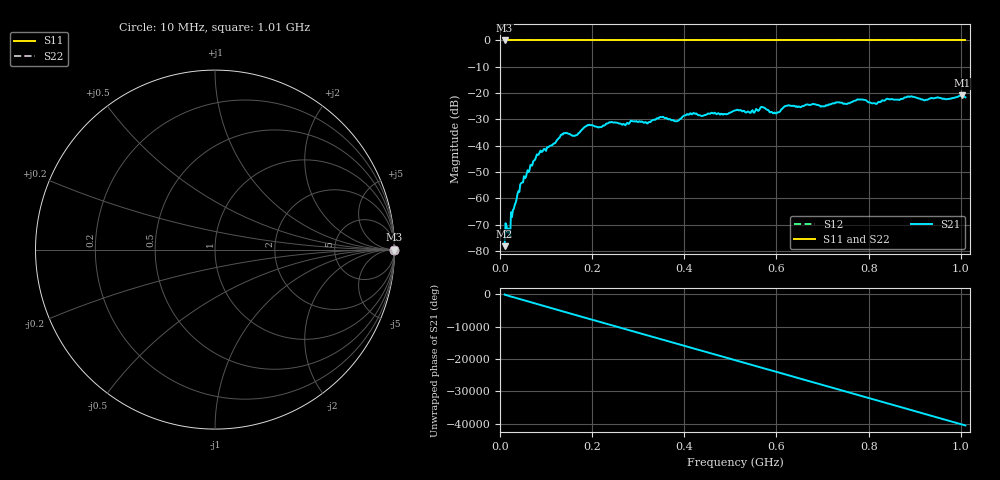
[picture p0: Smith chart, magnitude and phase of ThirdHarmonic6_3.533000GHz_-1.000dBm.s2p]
! 8/17/2025 11:37:08 AM
! C:\ANRITSUVNA\TEMP\TEMP.S2P
! CHANNEL.1
! TR.MEASUREMENT
! RAW.DATA
! RF.CORRECTION.OFF
! AVERAGING.OFF
! IF.BANDWIDTH: 5KHZ
! SWEEPTYPE:  FREQ.SWEEP(Linear)
! Reference Plane Port Info
! PORT:  PORT1  PORT2
! DISTANCE:  0  m  0  m
! TIME:  0  s  0  s
! PHASE.OFFSET:  0  deg.  0  deg.
! LOSS:  0  dB  0  dB
! REF.LOSS:  0  dB  0  dB
! REF.FREQ:  0  Hz  0  Hz
! Power Info
! POWER:  -20  dBm  -20  dBm
! EFF.POWER:  -20  dBm  -20  dBm
! SOURCE.ATTEN:  0  dB  0  dB
! TEST.ATTEN:  0  dB  0  dB
# GHZ S RI R 50.0
! FREQ.GHZ  S11RE  S11IM  S21RE  S21IM  S12RE  S12IM  S22RE  S22IM
!; PortSelection: Port_12
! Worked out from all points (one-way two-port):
!   501 points, 10 MHz to 1.01 GHz, reference 50 ohm
!   highest |S21| = -20.85 dB at 1.002 GHz (marker M1); lowest = -78.1 dB at 10 MHz (marker M2)
!   lowest |S11| = 0.0 dB at 10 MHz (marker M3)
!   |S11| at or under -10 dB: nowhere
!   |S22| runs from 0.0 to 0.0 dB; largest |S21 - S12| = 1.1
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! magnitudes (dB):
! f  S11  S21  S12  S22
! 10 MHz  0.0  -78.1  0.0  0.0
! 16 MHz  0.0  -73.0  0.0  0.0
! 20 MHz  0.0  -72.8  0.0  0.0
! 28 MHz  0.0  -64.4  0.0  0.0
! 48 MHz  0.0  -53.9  0.0  0.0
! 84 MHz  0.0  -43.4  0.0  0.0
! 136 MHz  0.0  -35.7  0.0  0.0
! 162 MHz  0.0  -36.2  0.0  0.0
! 178 MHz  0.0  -33.8  0.0  0.0
! 344 MHz  0.0  -29.6  0.0  0.0
! 382 MHz  0.0  -30.6  0.0  0.0
! 410 MHz  0.0  -28.2  0.0  0.0
! 510 MHz  0.0  -26.6  0.0  0.0
! 570 MHz  0.0  -25.3  0.0  0.0
! 596 MHz  0.0  -27.4  0.0  0.0
! 622 MHz  0.0  -24.8  0.0  0.0
! 678 MHz  0.0  -24.2  0.0  0.0
! 780 MHz  0.0  -22.4  0.0  0.0
! 814 MHz  0.0  -23.9  0.0  0.0
! 844 MHz  0.0  -22.3  0.0  0.0
! 1.002 GHz  0.0  -20.9  0.0  0.0
! 1.01 GHz  0.0  -21.6  0.0  0.0
